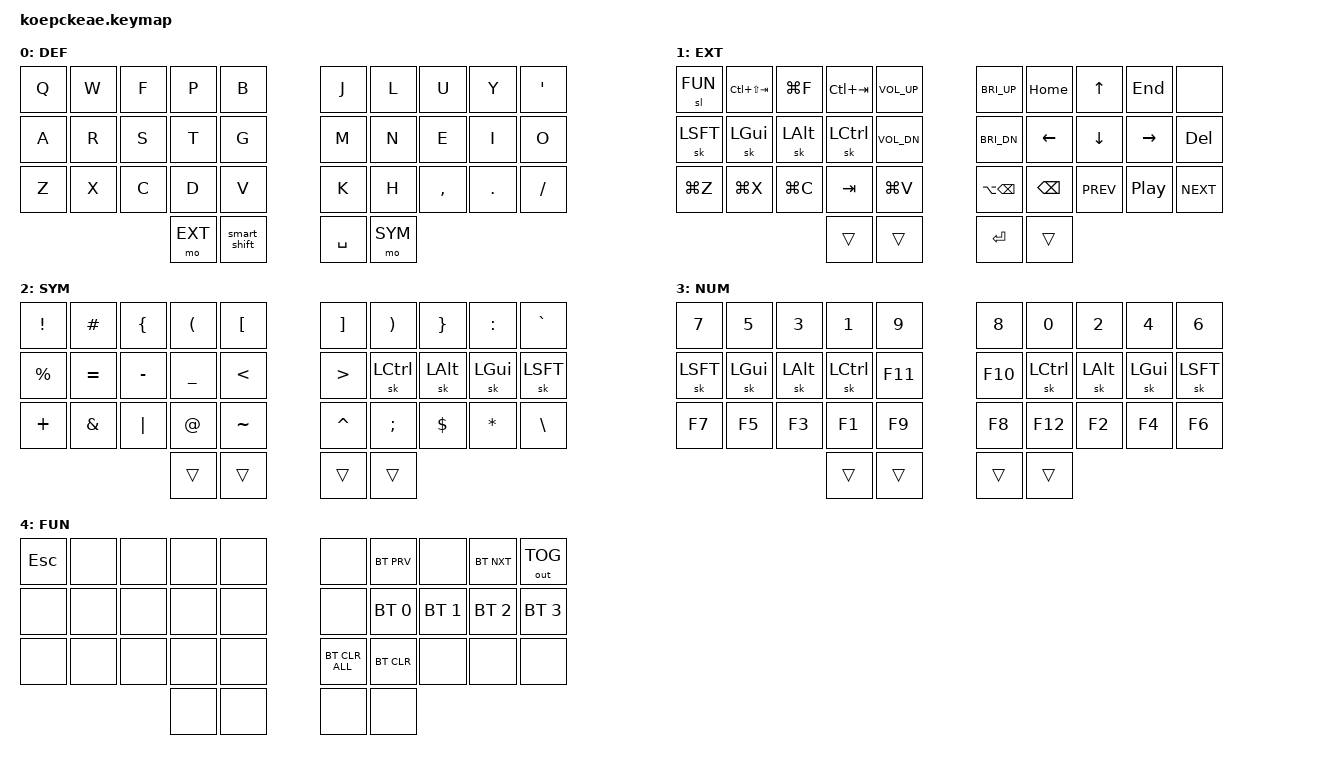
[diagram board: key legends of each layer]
/*
* Copyright (c) 2024 Sviatoslav Bulbakha
 *
 * SPDX-License-Identifier: MIT
 */

#define DEF 0
#define EXT 1
#define SYM 2
#define NUM 3
#define FUN 4

#include <behaviors.dtsi>
#include <dt-bindings/zmk/keys.h>
#include <dt-bindings/zmk/bt.h>
#include <dt-bindings/zmk/ext_power.h>
#include <dt-bindings/zmk/outputs.h>

#define PREV LC(LS(TAB))
#define NEXT LC(TAB)

  /* ╭────────────────────┬────────────────────╮ */
  /* │  0   1   2   3   4 │  5   6   7   8   9 │ */
  /* │ 10  11  12  13  14 │ 15  16  17  18  19 │ */
  /* │ 20  21  22  23  24 │ 25  26  27  28  29 │ */
  /* ╰───────────╮ 30  31 │ 32  33 ╭───────────╯ */
  /*             ╰────────┴────────╯ */

#define COMBO(NAME, BINDINGS, KEYPOS, LAYERS) \
  combo_##NAME { \
    timeout-ms = <50>; \
    bindings = <BINDINGS>; \
    key-positions = <KEYPOS>; \
    layers = <LAYERS>; \
  };

&sk {
  release-after-ms = <1000>;
  quick-release;
};

&caps_word {
  mods = <(MOD_RSFT)>;
};

/ {
  conditional_layers {
    compatible = "zmk,conditional-layers";

    fun_tri_layer {
      if-layers = <1 2>;
      then-layer = <3>;
    };
  };

  behaviors {
    smart_shift: smart_shift {
      compatible = "zmk,behavior-mod-morph";
      #binding-cells = <0>;
      bindings = <&sk RSFT>, <&caps_word>;
      mods = <(MOD_RSFT)>;
    };
  };

  combos {
    compatible = "zmk,combos";

    COMBO(esc, &kp ESC, 1 3, DEF)
    COMBO(mute, &kp C_MUTE, 4 14, EXT)
  };

  keymap {
    compatible = "zmk,keymap";

    def_layer {
      label = "DEF";
      bindings = <
      &kp Q        &kp W        &kp F        &kp P        &kp B          &kp J        &kp L        &kp U        &kp Y        &kp SQT
      &kp A        &kp R        &kp S        &kp T        &kp G          &kp M        &kp N        &kp E        &kp I        &kp O
      &kp Z        &kp X        &kp C        &kp D        &kp V          &kp K        &kp H        &kp COMMA    &kp DOT      &kp FSLH
                                             &mo EXT      &smart_shift   &kp SPC      &mo SYM
      >;
    };

    ext_layer {
      label = "EXT";
      bindings = <
      &sl FUN      &kp PREV     &kp LG(F)     &kp NEXT     &kp C_VOL_UP  &kp C_BRI_UP &kp HOME     &kp UP       &kp END      &none
      &sk LSFT     &sk LGUI     &sk LALT      &sk LCTL     &kp C_VOL_DN  &kp C_BRI_DN &kp LEFT     &kp DOWN     &kp RIGHT    &kp DEL
      &kp LG(Z)    &kp LG(X)    &kp LG(C)     &kp TAB      &kp LG(V)     &kp LA(BSPC) &kp BSPC     &kp C_PREV   &kp C_PP     &kp C_NEXT
                                              &trans       &trans        &kp RET      &trans
      >;
    };

    sym_layer {
      label = "SYM";
      bindings = <
      &kp EXCL     &kp HASH     &kp LBRC      &kp LPAR     &kp LBKT      &kp RBKT     &kp RPAR     &kp RBRC     &kp COLON    &kp GRAVE
      &kp PRCNT    &kp EQUAL    &kp MINUS     &kp UNDER    &kp LT        &kp GT       &sk LCTL     &sk LALT     &sk LGUI     &sk LSFT
      &kp PLUS     &kp AMPS     &kp PIPE      &kp AT       &kp TILDE     &kp CARET    &kp SEMI     &kp DLLR     &kp STAR     &kp BSLH
                                              &trans       &trans        &trans       &trans
      >;
    };

    num_layer {
      label = "NUM";
      bindings = <
      &kp N7       &kp N5       &kp N3        &kp N1       &kp N9        &kp N8       &kp N0       &kp N2       &kp N4       &kp N6
      &sk LSFT     &sk LGUI     &sk LALT      &sk LCTL     &kp F11       &kp F10      &sk LCTL     &sk LALT     &sk LGUI     &sk LSFT
      &kp F7       &kp F5       &kp F3        &kp F1       &kp F9        &kp F8       &kp F12      &kp F2       &kp F4       &kp F6
                                              &trans       &trans        &trans       &trans
      >;
    };

    fun_layer {
      label = "FUN";
      bindings = <
      &kp ESC      &none        &none        &none        &none          &none        &bt BT_PRV   &none        &bt BT_NXT   &out OUT_TOG
      &none        &none        &none        &none        &none          &none        &bt BT_SEL 0 &bt BT_SEL 1 &bt BT_SEL 2 &bt BT_SEL 3
      &none        &none        &none        &none        &none          &bt BT_CLR_ALL &bt BT_CLR &none        &none        &none
                                             &none        &none          &none        &none
      >;
    };
  };
};
